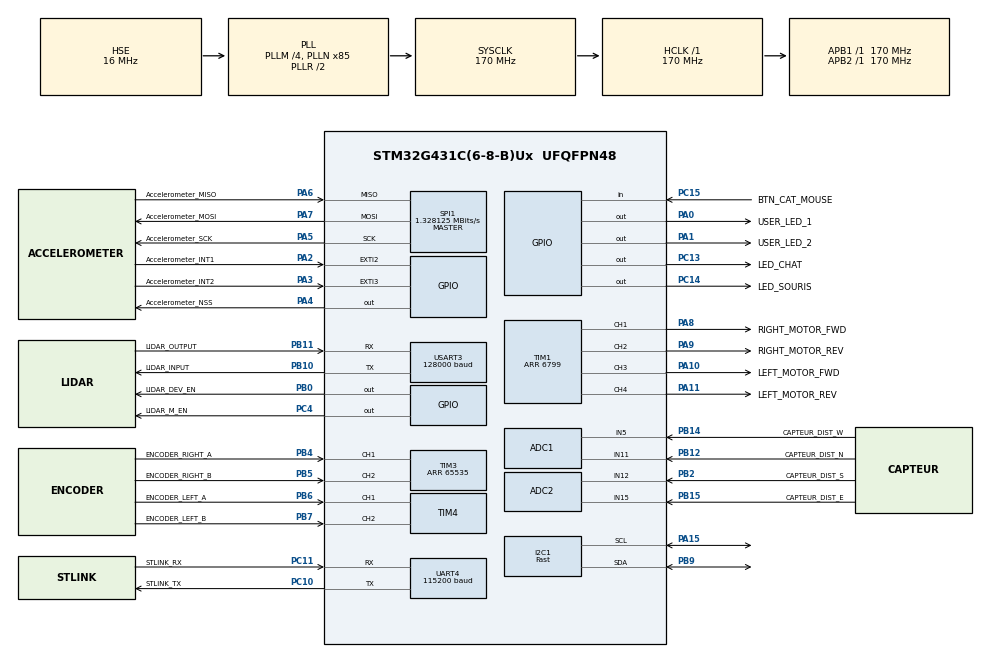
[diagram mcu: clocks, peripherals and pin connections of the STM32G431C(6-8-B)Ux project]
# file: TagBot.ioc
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ADC1.Channel-0\#ChannelRegularConversion=ADC_CHANNEL_5
ADC1.Channel-1\#ChannelRegularConversion=ADC_CHANNEL_11
ADC1.ContinuousConvMode=DISABLE
ADC1.DMAContinuousRequests=ENABLE
ADC1.EOCSelection=ADC_EOC_SEQ_CONV
ADC1.ExternalTrigConv=ADC_EXTERNALTRIG_T6_TRGO
ADC1.LowPowerAutoWait=ENABLE
ADC1.Mode=ADC_MODE_INDEPENDENT
ADC1.NbrOfConversion=2
ADC1.NbrOfConversionFlag=1
ADC1.OffsetNumber-0\#ChannelRegularConversion=ADC_OFFSET_NONE
ADC1.OffsetNumber-1\#ChannelRegularConversion=ADC_OFFSET_NONE
ADC1.Rank-0\#ChannelRegularConversion=1
ADC1.Rank-1\#ChannelRegularConversion=2
ADC1.SamplingTime-0\#ChannelRegularConversion=ADC_SAMPLETIME_47CYCLES_5
ADC1.SamplingTime-1\#ChannelRegularConversion=ADC_SAMPLETIME_47CYCLES_5
ADC1.master=1
ADC2.Channel-1\#ChannelRegularConversion=ADC_CHANNEL_12
ADC2.Channel-2\#ChannelRegularConversion=ADC_CHANNEL_15
ADC2.ContinuousConvMode=DISABLE
ADC2.DMAContinuousRequests=ENABLE
ADC2.DiscontinuousConvMode=DISABLE
ADC2.EOCSelection=ADC_EOC_SEQ_CONV
ADC2.ExternalTrigConv=ADC_EXTERNALTRIG_T6_TRGO
ADC2.LowPowerAutoWait=ENABLE
ADC2.NbrOfConversion=2
ADC2.NbrOfConversionFlag=1
ADC2.OffsetNumber-1\#ChannelRegularConversion=ADC_OFFSET_NONE
ADC2.OffsetNumber-2\#ChannelRegularConversion=ADC_OFFSET_NONE
ADC2.Rank-1\#ChannelRegularConversion=1
ADC2.Rank-2\#ChannelRegularConversion=2
ADC2.SamplingTime-1\#ChannelRegularConversion=ADC_SAMPLETIME_47CYCLES_5
ADC2.SamplingTime-2\#ChannelRegularConversion=ADC_SAMPLETIME_47CYCLES_5
Dma.ADC1.1.Direction=DMA_PERIPH_TO_MEMORY
Dma.ADC1.1.EventEnable=DISABLE
Dma.ADC1.1.Instance=DMA1_Channel2
Dma.ADC1.1.MemDataAlignment=DMA_MDATAALIGN_WORD
Dma.ADC1.1.MemInc=DMA_MINC_ENABLE
Dma.ADC1.1.Mode=DMA_CIRCULAR
Dma.ADC1.1.PeriphDataAlignment=DMA_PDATAALIGN_WORD
Dma.ADC1.1.PeriphInc=DMA_PINC_DISABLE
Dma.ADC1.1.Polarity=HAL_DMAMUX_REQ_GEN_RISING
Dma.ADC1.1.Priority=DMA_PRIORITY_HIGH
Dma.ADC1.1.RequestNumber=1
Dma.ADC1.1.SignalID=NONE
Dma.ADC1.1.SyncEnable=DISABLE
Dma.ADC1.1.SyncPolarity=HAL_DMAMUX_SYNC_NO_EVENT
Dma.ADC1.1.SyncRequestNumber=1
Dma.ADC1.1.SyncSignalID=NONE
Dma.ADC2.0.Direction=DMA_PERIPH_TO_MEMORY
Dma.ADC2.0.EventEnable=DISABLE
Dma.ADC2.0.Instance=DMA1_Channel1
Dma.ADC2.0.MemDataAlignment=DMA_MDATAALIGN_WORD
Dma.ADC2.0.MemInc=DMA_MINC_ENABLE
Dma.ADC2.0.Mode=DMA_CIRCULAR
Dma.ADC2.0.PeriphDataAlignment=DMA_PDATAALIGN_WORD
Dma.ADC2.0.PeriphInc=DMA_PINC_DISABLE
Dma.ADC2.0.Polarity=HAL_DMAMUX_REQ_GEN_RISING
Dma.ADC2.0.Priority=DMA_PRIORITY_HIGH
Dma.ADC2.0.RequestNumber=1
Dma.ADC2.0.SignalID=NONE
Dma.ADC2.0.SyncEnable=DISABLE
Dma.ADC2.0.SyncPolarity=HAL_DMAMUX_SYNC_NO_EVENT
Dma.ADC2.0.SyncRequestNumber=1
Dma.ADC2.0.SyncSignalID=NONE
Dma.Request0=ADC2
Dma.Request1=ADC1
Dma.Request2=USART3_RX
Dma.Request3=USART3_TX
Dma.USART3_RX.2.Direction=DMA_PERIPH_TO_MEMORY
Dma.USART3_RX.2.EventEnable=DISABLE
Dma.USART3_RX.2.Instance=DMA1_Channel3
Dma.USART3_RX.2.MemDataAlignment=DMA_MDATAALIGN_BYTE
Dma.USART3_RX.2.MemInc=DMA_MINC_ENABLE
Dma.USART3_RX.2.Mode=DMA_CIRCULAR
Dma.USART3_RX.2.PeriphDataAlignment=DMA_PDATAALIGN_BYTE
Dma.USART3_RX.2.PeriphInc=DMA_PINC_DISABLE
Dma.USART3_RX.2.Polarity=HAL_DMAMUX_REQ_GEN_RISING
Dma.USART3_RX.2.Priority=DMA_PRIORITY_LOW
Dma.USART3_RX.2.RequestNumber=1
Dma.USART3_RX.2.SignalID=NONE
Dma.USART3_RX.2.SyncEnable=DISABLE
Dma.USART3_RX.2.SyncPolarity=HAL_DMAMUX_SYNC_NO_EVENT
Dma.USART3_RX.2.SyncRequestNumber=1
Dma.USART3_RX.2.SyncSignalID=NONE
Dma.USART3_TX.3.Direction=DMA_MEMORY_TO_PERIPH
Dma.USART3_TX.3.EventEnable=DISABLE
Dma.USART3_TX.3.Instance=DMA1_Channel4
Dma.USART3_TX.3.MemDataAlignment=DMA_MDATAALIGN_BYTE
Dma.USART3_TX.3.MemInc=DMA_MINC_ENABLE
Dma.USART3_TX.3.Mode=DMA_CIRCULAR
Dma.USART3_TX.3.PeriphDataAlignment=DMA_PDATAALIGN_BYTE
Dma.USART3_TX.3.PeriphInc=DMA_PINC_DISABLE
Dma.USART3_TX.3.Polarity=HAL_DMAMUX_REQ_GEN_RISING
Dma.USART3_TX.3.Priority=DMA_PRIORITY_LOW
Dma.USART3_TX.3.RequestNumber=1
Dma.USART3_TX.3.SignalID=NONE
Dma.USART3_TX.3.SyncEnable=DISABLE
Dma.USART3_TX.3.SyncPolarity=HAL_DMAMUX_SYNC_NO_EVENT
Dma.USART3_TX.3.SyncRequestNumber=1
Dma.USART3_TX.3.SyncSignalID=NONE
FREERTOS.MEMORY_ALLOCATION=2
FREERTOS.Tasks01=defaultTask,0,128,StartDefaultTask,Default,NULL,Static,defaultTaskBuffer,defaultTaskControlBlock
FREERTOS.configCHECK_FOR_STACK_OVERFLOW=2
FREERTOS.configMAX_PRIORITIES=15
FREERTOS.configTOTAL_HEAP_SIZE=10000
FREERTOS.configUSE_NEWLIB_REENTRANT=1
FREERTOS.configUSE_TIMERS=0
I2C1.I2C_Speed_Mode=I2C_Fast
I2C1.Timing=0x40621236
Mcu.Family=STM32G4
Mcu.Name=STM32G431C(6-8-B)Ux
Mcu.Package=UFQFPN48
NVIC.DMA1_Channel1_IRQn=true\:5\:0\:false\:false\:true\:true\:false\:true\:true
NVIC.DMA1_Channel2_IRQn=true\:5\:0\:false\:false\:true\:true\:false\:true\:true
NVIC.DMA1_Channel3_IRQn=true\:5\:0\:false\:false\:true\:true\:false\:true\:true
NVIC.DMA1_Channel4_IRQn=true\:5\:0\:false\:false\:true\:true\:false\:true\:true
NVIC.PriorityGroup=NVIC_PRIORITYGROUP_4
NVIC.TIM3_IRQn=true\:5\:0\:false\:false\:true\:true\:true\:true\:true
NVIC.TIM4_IRQn=true\:5\:0\:false\:false\:true\:true\:true\:true\:true
NVIC.TIM7_IRQn=true\:15\:0\:false\:false\:true\:false\:false\:true\:true
NVIC.TIM8_UP_IRQn=true\:5\:0\:false\:false\:true\:true\:true\:true\:true
NVIC.TimeBase=TIM7_IRQn
NVIC.TimeBaseIP=TIM7
NVIC.UART4_IRQn=true\:5\:0\:false\:false\:true\:true\:true\:true\:true
NVIC.USART3_IRQn=true\:5\:0\:false\:false\:true\:true\:true\:true\:true
PA0.GPIO_Label=USER_LED_1
PA0.Signal=GPIO_Output
PA1.GPIO_Label=USER_LED_2
PA1.Signal=GPIO_Output
PA10.GPIO_Label=LEFT_MOTOR_FWD
PA10.Signal=S_TIM1_CH3
PA11.GPIO_Label=LEFT_MOTOR_REV
PA11.Signal=S_TIM1_CH4
PA13.Mode=Trace_Asynchronous_SW
PA13.Signal=SYS_JTMS-SWDIO
PA14.Mode=Trace_Asynchronous_SW
PA14.Signal=SYS_JTCK-SWCLK
PA15.Mode=I2C
PA15.Signal=I2C1_SCL
PA2.GPIO_Label=Accelerometer_INT1
PA2.Signal=GPXTI2
PA3.GPIO_Label=Accelerometer_INT2
PA3.Signal=GPXTI3
PA4.GPIO_Label=Accelerometer_NSS
PA4.Signal=GPIO_Output
PA5.GPIO_Label=Accelerometer_SCK
PA5.Mode=Full_Duplex_Master
PA5.Signal=SPI1_SCK
PA6.GPIO_Label=Accelerometer_MISO
PA6.Mode=Full_Duplex_Master
PA6.Signal=SPI1_MISO
PA7.GPIO_Label=Accelerometer_MOSI
PA7.Mode=Full_Duplex_Master
PA7.Signal=SPI1_MOSI
PA8.GPIO_Label=RIGHT_MOTOR_FWD
PA8.Signal=S_TIM1_CH1
PA9.GPIO_Label=RIGHT_MOTOR_REV
PA9.Signal=S_TIM1_CH2
PB0.GPIO_Label=LIDAR_DEV_EN
PB0.Signal=GPIO_Output
PB10.GPIO_Label=LIDAR_INPUT
PB10.Mode=Asynchronous
PB10.Signal=USART3_TX
PB11.GPIO_Label=LIDAR_OUTPUT
PB11.Mode=Asynchronous
PB11.Signal=USART3_RX
PB12.GPIO_Label=CAPTEUR_DIST_N
PB12.Mode=IN11-Single-Ended
PB12.Signal=ADC1_IN11
PB14.GPIO_Label=CAPTEUR_DIST_W
PB14.Mode=IN5-Single-Ended
PB14.Signal=ADC1_IN5
PB15.GPIO_Label=CAPTEUR_DIST_E
PB15.Mode=IN15-Single-Ended
PB15.Signal=ADC2_IN15
PB2.GPIO_Label=CAPTEUR_DIST_S
PB2.Mode=IN12-Single-Ended
PB2.Signal=ADC2_IN12
PB3.Mode=Trace_Asynchronous_SW
PB3.Signal=SYS_JTDO-SWO
PB4.GPIO_Label=ENCODER_RIGHT_A
PB4.Signal=S_TIM3_CH1
PB5.GPIO_Label=ENCODER_RIGHT_B
PB5.Signal=S_TIM3_CH2
PB6.GPIO_Label=ENCODER_LEFT_A
PB6.Signal=S_TIM4_CH1
PB7.GPIO_Label=ENCODER_LEFT_B
PB7.Signal=S_TIM4_CH2
PB9.Mode=I2C
PB9.Signal=I2C1_SDA
PC10.GPIO_Label=STLINK_TX
PC10.Mode=Asynchronous
PC10.Signal=UART4_TX
PC11.GPIO_Label=STLINK_RX
PC11.Mode=Asynchronous
PC11.Signal=UART4_RX
PC13.GPIO_Label=LED_CHAT
PC13.Signal=GPIO_Output
PC14-OSC32_IN.GPIO_Label=LED_SOURIS
PC14-OSC32_IN.Signal=GPIO_Output
PC15-OSC32_OUT.GPIO_Label=BTN_CAT_MOUSE
PC15-OSC32_OUT.Signal=GPIO_Input
PC4.GPIO_Label=LIDAR_M_EN
PC4.GPIO_PuPd=GPIO_NOPULL
PC4.PinState=GPIO_PIN_RESET
PC4.Signal=GPIO_Output
PF0-OSC_IN.Mode=HSE-External-Oscillator
PF0-OSC_IN.Signal=RCC_OSC_IN
PF1-OSC_OUT.Mode=HSE-External-Oscillator
PF1-OSC_OUT.Signal=RCC_OSC_OUT
ProjectManager.HeapSize=0x200
ProjectManager.StackSize=0x400
ProjectManager.TargetToolchain=STM32CubeIDE
RCC.ADC12Freq_Value=170000000
RCC.AHBFreq_Value=170000000
RCC.APB1Freq_Value=170000000
RCC.APB1TimFreq_Value=170000000
RCC.APB2Freq_Value=170000000
RCC.APB2TimFreq_Value=170000000
RCC.CortexFreq_Value=170000000
RCC.EXTERNAL_CLOCK_VALUE=12288000
RCC.HCLKFreq_Value=170000000
RCC.HSE_VALUE=16000000
RCC.HSI48_VALUE=48000000
RCC.HSI_VALUE=16000000
RCC.LSE_VALUE=32768
RCC.PLLM=RCC_PLLM_DIV4
RCC.PLLN=85
RCC.PLLSourceVirtual=RCC_PLLSOURCE_HSE
RCC.SYSCLKFreq_VALUE=170000000
RCC.SYSCLKSource=RCC_SYSCLKSOURCE_PLLCLK
RCC.USBFreq_Value=170000000
RCC.VCOOutputFreq_Value=340000000
SH.S_TIM1_CH1.0=TIM1_CH1,PWM Generation1 CH1
SH.S_TIM1_CH2.0=TIM1_CH2,PWM Generation2 CH2
SH.S_TIM1_CH3.0=TIM1_CH3,PWM Generation3 CH3
SH.S_TIM1_CH4.0=TIM1_CH4,PWM Generation4 CH4
SH.S_TIM3_CH1.0=TIM3_CH1,Encoder_Interface
SH.S_TIM3_CH2.0=TIM3_CH2,Encoder_Interface
SH.S_TIM4_CH1.0=TIM4_CH1,Encoder_Interface
SH.S_TIM4_CH2.0=TIM4_CH2,Encoder_Interface
SPI1.BaudRatePrescaler=SPI_BAUDRATEPRESCALER_128
SPI1.CLKPhase=SPI_PHASE_2EDGE
SPI1.CLKPolarity=SPI_POLARITY_HIGH
SPI1.CalculateBaudRate=1.328125 MBits/s
SPI1.DataSize=SPI_DATASIZE_8BIT
SPI1.Direction=SPI_DIRECTION_2LINES
SPI1.Mode=SPI_MODE_MASTER
SPI1.VirtualType=VM_MASTER
TIM1.AutoReloadPreload=TIM_AUTORELOAD_PRELOAD_ENABLE
TIM1.Channel-PWM\ Generation1\ CH1=TIM_CHANNEL_1
TIM1.Channel-PWM\ Generation2\ CH2=TIM_CHANNEL_2
TIM1.Channel-PWM\ Generation3\ CH3=TIM_CHANNEL_3
TIM1.Channel-PWM\ Generation4\ CH4=TIM_CHANNEL_4
TIM1.PeriodNoDither=6799
TIM3.AutoReloadPreload=TIM_AUTORELOAD_PRELOAD_ENABLE
TIM3.EncoderMode=TIM_ENCODERMODE_TI12
TIM3.IC1Filter=10
TIM3.IC1Prescaler=TIM_ICPSC_DIV2
TIM3.IC2Filter=10
TIM3.IC2Prescaler=TIM_ICPSC_DIV2
TIM3.PeriodNoDither=65535
TIM4.AutoReloadPreload=TIM_AUTORELOAD_PRELOAD_ENABLE
TIM4.EncoderMode=TIM_ENCODERMODE_TI12
TIM4.IC1Filter=10
TIM4.IC1Prescaler=TIM_ICPSC_DIV2
TIM4.IC2Filter=10
TIM4.IC2Prescaler=TIM_ICPSC_DIV2
TIM6.PeriodNoDither=9999
TIM6.Prescaler=9999
TIM6.TIM_MasterOutputTrigger=TIM_TRGO_UPDATE
TIM8.PeriodNoDither=9999
TIM8.Prescaler=8499
UART4.BaudRate=115200
UART4.SwapParam=UART_ADVFEATURE_SWAP_ENABLE
USART3.BaudRate=128000
USART3.OverrunDisableParam=ADVFEATURE_OVERRUN_DISABLE
USART3.VirtualMode-Asynchronous=VM_ASYNC
VP_FREERTOS_VS_CMSIS_V1.Mode=CMSIS_V1
VP_SYS_VS_DBSignals.Mode=DisableDeadBatterySignals
VP_SYS_VS_tim7.Mode=TIM7
VP_TIM1_VS_ClockSourceINT.Mode=Internal
VP_TIM6_VS_ClockSourceINT.Mode=Enable_Timer
VP_TIM8_VS_ClockSourceINT.Mode=Internal
board=custom

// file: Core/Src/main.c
/* USER CODE BEGIN Header */
/**
 ******************************************************************************
 * @file           : main.c
 * @brief          : Main program body
 ******************************************************************************
 * @attention
 *
 * Copyright (c) 2024 STMicroelectronics.
 * All rights reserved.
 *
 * This software is licensed under terms that can be found in the LICENSE file
 * in the root directory of this software component.
 * If no LICENSE file comes with this software, it is provided AS-IS.
 *
 ******************************************************************************
 */
/* USER CODE END Header */
#include "main.h"
#include "cmsis_os.h"
#include "adc.h"
#include "dma.h"
#include "i2c.h"
#include "spi.h"
#include "tim.h"
#include "usart.h"
#include "gpio.h"

/* USER CODE BEGIN Includes */
#include "stm32g4xx_hal.h"
#include "semphr.h"
#include "X4LIDAR_driver.h"
#include "DCMotor_driver.h"
#include "SSD1306.h"
#include "SSD1306_fonts.h"
#include "shell.h"
#include "RobotStrategy.h"
#include "distSensor_driver.h"
#include "ADXL343_driver.h"
/* USER CODE END Includes */

/* USER CODE BEGIN PD */
#define DISTANCE_SENSOR_ADC_BUFFER_SIZE 10
/* USER CODE END PD */

/* USER CODE BEGIN PV */
X4LIDAR_handle_t X4LIDAR_handle;
DualDrive_handle_t DualDrive_handle;
__TARGET_HandleTypeDef Target_Handle;

/* USER CODE END PV */

void SystemClock_Config(void);
void MX_FREERTOS_Init(void);

/* USER CODE BEGIN 0 */
int __io_putchar(int ch)
{
	// Send the character using HAL_UART_Transmit
	HAL_UART_Transmit(&huart4, (uint8_t*) &ch, 1, HAL_MAX_DELAY);

	return ch;  // Return the character back to the caller
}

void print_lidar_distances(h_shell_t *h_shell, int argc, char **argv)
{
	for (int i = MIN_ANGLE; i < MAX_ANGLE; i++)
	{
		printf("%s %d: %f \r\n",
				"angle ", i,  X4LIDAR_handle.scan_data.distances[i]);
	}
}

void print_motor_speed(h_shell_t *h_shell, int argc, char **argv)
{
	uint32_t speed_left = DualDrive_handle.motor_left.encoder.measured_rpm;
	uint32_t speed_right = DualDrive_handle.motor_right.encoder.measured_rpm;

	printf("speed left = %lu \r\n", speed_left);
	printf("speed right = %lu \r\n", speed_right);
}

void vApplicationStackOverflowHook(TaskHandle_t xTask, char *pcTaskName)
{
	Error_Handler();
}
/* USER CODE END 0 */

int main(void)
{

  /* USER CODE BEGIN 1 */
	//to disable timer in debug mode

	//to disable timer in debug mode

  /* USER CODE END 1 */

  /* MCU Configuration--------------------------------------------------------*/

  /* Reset of all peripherals, Initializes the Flash interface and the Systick. */
  HAL_Init();

  /* Configure the system clock */
  SystemClock_Config();

  /* Initialize all configured peripherals */
  MX_GPIO_Init();
  MX_DMA_Init();
  MX_UART4_Init();
  MX_SPI1_Init();
  MX_TIM4_Init();
  MX_ADC1_Init();
  MX_ADC2_Init();
  MX_TIM1_Init();
  MX_TIM3_Init();
  MX_USART3_UART_Init();
  MX_I2C1_Init();
  MX_TIM6_Init();
  MX_TIM8_Init();
  /* USER CODE BEGIN 2 */
	printf(" _____________________________\r\n");
	printf("|                             |\r\n");
	printf("|                             |\r\n");
	printf("|  WELCOME ON TAGBOT PROJECT  |\r\n");
	printf("|                             |\r\n");
	printf("|_____________________________|\r\n");
	//**********************************************************

	/* Ce code initialise l'adc en dma*/
	distSensor_TaskCreate(NULL);
	printf("Démarrage du test des capteurs de distance...\r\n");

	//**********************************************************

	/* Code init l'accélérometre*/

/*Ce code a été bougé au début de la task donc pas besoin ici

	while(1 == ADXL343_Init()) {}
	ADXL343_Configure();*/

	ADXL343_TaskCreate(NULL);
	printf("adxl task creat \r\n");

	//**********************************************************
	DCMotor_CreateTask(&DualDrive_handle);
	printf("dcmotor task creat \r\n");

	//**********************************************************
	// Init SCREEN OLED
	if(HAL_OK == SCREEN_SSD1306_Init(&hscreen1, &hi2c1))
	{
		SCREEN_SSD1306_DrawBitmap(&hscreen1, Nyan_115x64px, 115, 64, White);
		//SCREEN_SSD1306_DrawBitmap(&hscreen1, Jerry_50x64px, 120, 64, White);
		SCREEN_SSD1306_Update_Screen(&hscreen1);
	}
	//**********************************************************
	//LIDAR

	X4LIDAR_create_task(&X4LIDAR_handle);
	printf("lidar task creat \r\n");
	//**********************************************************
//	shell_init(&h_shell);
//	shell_add(&h_shell, "print_dist", print_lidar_distances,
//			"print lidar buffer containing scanned distances");
//	shell_add(&h_shell, "print_motor_speed", print_motor_speed,
//			"print_motor_speed");
//	shell_createShellTask(&h_shell);

	//**********************************************************
	RobotStrategy_CreateTask();

	//**********************************************************

	//HAL_Delay(20000);
	//**********************************************************

	printf("Tasks creation finished... \r\n");
	//**********************************************************

  /* USER CODE END 2 */

  /* Call init function for freertos objects (in cmsis_os2.c) */
  MX_FREERTOS_Init();

  /* Start scheduler */
  osKernelStart();

  /* We should never get here as control is now taken by the scheduler */

  /* Infinite loop */
	while (1)
	{

	}
}

void SystemClock_Config(void)
{
  RCC_OscInitTypeDef RCC_OscInitStruct = {0};
  RCC_ClkInitTypeDef RCC_ClkInitStruct = {0};

  /** Configure the main internal regulator output voltage
  */
  HAL_PWREx_ControlVoltageScaling(PWR_REGULATOR_VOLTAGE_SCALE1_BOOST);

  /** Initializes the RCC Oscillators according to the specified parameters
  * in the RCC_OscInitTypeDef structure.
  */
  RCC_OscInitStruct.OscillatorType = RCC_OSCILLATORTYPE_HSE;
  RCC_OscInitStruct.HSEState = RCC_HSE_ON;
  RCC_OscInitStruct.PLL.PLLState = RCC_PLL_ON;
  RCC_OscInitStruct.PLL.PLLSource = RCC_PLLSOURCE_HSE;
  RCC_OscInitStruct.PLL.PLLM = RCC_PLLM_DIV4;
  RCC_OscInitStruct.PLL.PLLN = 85;
  RCC_OscInitStruct.PLL.PLLP = RCC_PLLP_DIV2;
  RCC_OscInitStruct.PLL.PLLQ = RCC_PLLQ_DIV2;
  RCC_OscInitStruct.PLL.PLLR = RCC_PLLR_DIV2;
  if (HAL_RCC_OscConfig(&RCC_OscInitStruct) != HAL_OK)
  {
    Error_Handler();
  }

  /** Initializes the CPU, AHB and APB buses clocks
  */
  RCC_ClkInitStruct.ClockType = RCC_CLOCKTYPE_HCLK|RCC_CLOCKTYPE_SYSCLK
                              |RCC_CLOCKTYPE_PCLK1|RCC_CLOCKTYPE_PCLK2;
  RCC_ClkInitStruct.SYSCLKSource = RCC_SYSCLKSOURCE_PLLCLK;
  RCC_ClkInitStruct.AHBCLKDivider = RCC_SYSCLK_DIV1;
  RCC_ClkInitStruct.APB1CLKDivider = RCC_HCLK_DIV1;
  RCC_ClkInitStruct.APB2CLKDivider = RCC_HCLK_DIV1;

  if (HAL_RCC_ClockConfig(&RCC_ClkInitStruct, FLASH_LATENCY_4) != HAL_OK)
  {
    Error_Handler();
  }
}

/* USER CODE BEGIN 4 */

void HAL_UART_RxHalfCpltCallback(UART_HandleTypeDef *huart)
{

	X4LIDAR_HAL_UART_RxHalfCpltCallback(huart,&X4LIDAR_handle);

}

void HAL_UART_RxCpltCallback(UART_HandleTypeDef *huart)
{

	shell_drv_uart_HAL_UART_RxCpltCallback(huart);
	X4LIDAR_HAL_UART_RxCpltCallback(huart,&X4LIDAR_handle);

}

void HAL_UART_TxCpltCallback(UART_HandleTypeDef *huart)
{
	shell_drv_uart_HAL_UART_TxCpltCallback(huart);
}
/* USER CODE END 4 */

void HAL_TIM_PeriodElapsedCallback(TIM_HandleTypeDef *htim)
{
  if (htim->Instance == TIM7) {
    HAL_IncTick();
  }
  /* USER CODE BEGIN Callback 1 */
	  DCMotor_EncoderCallback(htim ,&DualDrive_handle);

  /* USER CODE END Callback 1 */
}

void Error_Handler(void)
{
	__disable_irq();
	while (1)
	{
	}
}

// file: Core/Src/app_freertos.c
/* USER CODE BEGIN Header */
/**
  ******************************************************************************
  * File Name          : app_freertos.c
  * Description        : Code for freertos applications
  ******************************************************************************
  * @attention
  *
  * Copyright (c) 2024 STMicroelectronics.
  * All rights reserved.
  *
  * This software is licensed under terms that can be found in the LICENSE file
  * in the root directory of this software component.
  * If no LICENSE file comes with this software, it is provided AS-IS.
  *
  ******************************************************************************
  */
/* USER CODE END Header */

#include "FreeRTOS.h"
#include "task.h"
#include "main.h"
#include "cmsis_os.h"

osThreadId defaultTaskHandle;
uint32_t defaultTaskBuffer[ 128 ];
osStaticThreadDef_t defaultTaskControlBlock;

void StartDefaultTask(void const * argument);

void MX_FREERTOS_Init(void); /* (MISRA C 2004 rule 8.1) */

/* GetIdleTaskMemory prototype (linked to static allocation support) */
void vApplicationGetIdleTaskMemory( StaticTask_t **ppxIdleTaskTCBBuffer, StackType_t **ppxIdleTaskStackBuffer, uint32_t *pulIdleTaskStackSize );

/* GetTimerTaskMemory prototype (linked to static allocation support) */
void vApplicationGetTimerTaskMemory( StaticTask_t **ppxTimerTaskTCBBuffer, StackType_t **ppxTimerTaskStackBuffer, uint32_t *pulTimerTaskStackSize );

/* USER CODE BEGIN GET_IDLE_TASK_MEMORY */
static StaticTask_t xIdleTaskTCBBuffer;
static StackType_t xIdleStack[configMINIMAL_STACK_SIZE];

void vApplicationGetIdleTaskMemory( StaticTask_t **ppxIdleTaskTCBBuffer, StackType_t **ppxIdleTaskStackBuffer, uint32_t *pulIdleTaskStackSize )
{
  *ppxIdleTaskTCBBuffer = &xIdleTaskTCBBuffer;
  *ppxIdleTaskStackBuffer = &xIdleStack[0];
  *pulIdleTaskStackSize = configMINIMAL_STACK_SIZE;
  /* place for user code */
}
/* USER CODE END GET_IDLE_TASK_MEMORY */

/* USER CODE BEGIN GET_TIMER_TASK_MEMORY */
static StaticTask_t xTimerTaskTCBBuffer;
static StackType_t xTimerStack[configTIMER_TASK_STACK_DEPTH];

void vApplicationGetTimerTaskMemory( StaticTask_t **ppxTimerTaskTCBBuffer, StackType_t **ppxTimerTaskStackBuffer, uint32_t *pulTimerTaskStackSize )
{
  *ppxTimerTaskTCBBuffer = &xTimerTaskTCBBuffer;
  *ppxTimerTaskStackBuffer = &xTimerStack[0];
  *pulTimerTaskStackSize = configTIMER_TASK_STACK_DEPTH;
  /* place for user code */
}
/* USER CODE END GET_TIMER_TASK_MEMORY */

void MX_FREERTOS_Init(void) {

  /* Create the thread(s) */
  /* definition and creation of defaultTask */
  osThreadStaticDef(defaultTask, StartDefaultTask, osPriorityNormal, 0, 128, defaultTaskBuffer, &defaultTaskControlBlock);
  defaultTaskHandle = osThreadCreate(osThread(defaultTask), NULL);

}

void StartDefaultTask(void const * argument)
{
  for(;;)
  {
    osDelay(1);
  }
}
